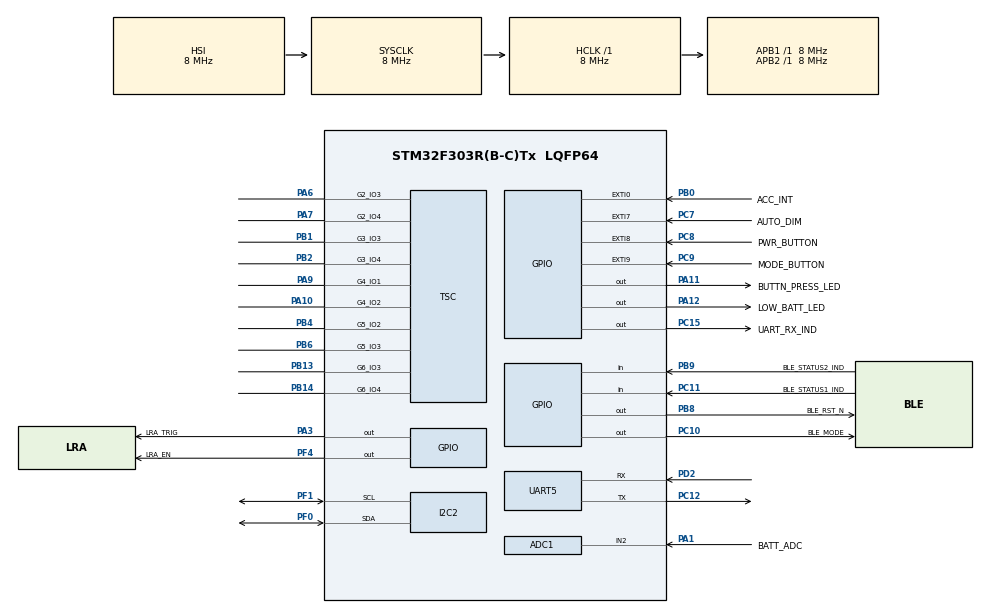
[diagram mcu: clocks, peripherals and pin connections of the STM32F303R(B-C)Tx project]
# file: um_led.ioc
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ADC1.Channel-0\#ChannelRegularConversion=ADC_CHANNEL_2
ADC1.NbrOfConversion=1
ADC1.NbrOfConversionFlag=1
ADC1.Offset-0\#ChannelRegularConversion=0
ADC1.OffsetNumber-0\#ChannelRegularConversion=ADC_OFFSET_NONE
ADC1.Rank-0\#ChannelRegularConversion=1
ADC1.SamplingTime-0\#ChannelRegularConversion=ADC_SAMPLETIME_601CYCLES_5
ADC1.master=1
Mcu.Family=STM32F3
Mcu.Name=STM32F303R(B-C)Tx
Mcu.Package=LQFP64
NVIC.EXTI0_IRQn=true\:1\:0\:true\:false\:true\:true\:true\:true
NVIC.EXTI9_5_IRQn=true\:1\:0\:true\:false\:true\:true\:true\:true
NVIC.PriorityGroup=NVIC_PRIORITYGROUP_4
NVIC.UART5_IRQn=true\:0\:0\:false\:false\:true\:true\:true\:true
PA1.GPIO_Label=BATT_ADC
PA1.GPIO_Mode=GPIO_MODE_ANALOG
PA1.GPIO_PuPd=GPIO_NOPULL
PA1.Mode=IN2-Single-Ended
PA1.Signal=ADC1_IN2
PA10.Mode=G4_IO2-Channel
PA10.Signal=TSC_G4_IO2
PA11.GPIO_Label=BUTTN_PRESS_LED
PA11.PinState=GPIO_PIN_SET
PA11.Signal=GPIO_Output
PA12.GPIO_Label=LOW_BATT_LED
PA12.PinState=GPIO_PIN_SET
PA12.Signal=GPIO_Output
PA13.Mode=Trace_Asynchronous_SW
PA13.Signal=SYS_JTMS-SWDIO
PA14.Mode=Trace_Asynchronous_SW
PA14.Signal=SYS_JTCK-SWCLK
PA3.GPIO_Label=LRA_TRIG
PA3.Signal=GPIO_Output
PA6.Mode=G2_IO3-Sampling
PA6.Signal=TSC_G2_IO3
PA7.Mode=G2_IO4-Channel
PA7.Signal=TSC_G2_IO4
PA9.Mode=G4_IO1-Sampling
PA9.Signal=TSC_G4_IO1
PB0.GPIO_Label=ACC_INT
PB0.GPIO_ModeDefaultEXTI=GPIO_MODE_IT_RISING
PB0.Signal=GPXTI0
PB1.Mode=G3_IO3-Sampling
PB1.Signal=TSC_G3_IO3
PB13.Mode=G6_IO3-Sampling
PB13.Signal=TSC_G6_IO3
PB14.Mode=G6_IO4-Channel
PB14.Signal=TSC_G6_IO4
PB2.Mode=G3_IO4-Channel
PB2.Signal=TSC_G3_IO4
PB3.Mode=Trace_Asynchronous_SW
PB3.Signal=SYS_JTDO-TRACESWO
PB4.Mode=G5_IO2-Channel
PB4.Signal=TSC_G5_IO2
PB6.Mode=G5_IO3-Sampling
PB6.Signal=TSC_G5_IO3
PB8.GPIO_Label=BLE_RST_N
PB8.GPIO_ModeDefaultOutputPP=GPIO_MODE_OUTPUT_OD
PB8.GPIO_PuPd=GPIO_NOPULL
PB8.PinState=GPIO_PIN_SET
PB8.Signal=GPIO_Output
PB9.GPIO_Label=BLE_STATUS2_IND
PB9.Signal=GPIO_Input
PC10.GPIO_Label=BLE_MODE
PC10.GPIO_ModeDefaultOutputPP=GPIO_MODE_OUTPUT_OD
PC10.GPIO_PuPd=GPIO_NOPULL
PC10.PinState=GPIO_PIN_SET
PC10.Signal=GPIO_Output
PC11.GPIO_Label=BLE_STATUS1_IND 
PC11.Signal=GPIO_Input
PC12.Mode=Asynchronous
PC12.Signal=UART5_TX
PC15-OSC32_OUT.GPIO_Label=UART_RX_IND
PC15-OSC32_OUT.Signal=GPIO_Output
PC7.GPIO_Label=AUTO_DIM
PC7.GPIO_ModeDefaultEXTI=GPIO_MODE_IT_FALLING
PC7.GPIO_PuPd=GPIO_PULLUP
PC7.Signal=GPXTI7
PC8.GPIO_Label=PWR_BUTTON
PC8.GPIO_ModeDefaultEXTI=GPIO_MODE_IT_FALLING
PC8.GPIO_PuPd=GPIO_PULLUP
PC8.Signal=GPXTI8
PC9.GPIO_Label=MODE_BUTTON
PC9.GPIO_ModeDefaultEXTI=GPIO_MODE_IT_FALLING
PC9.GPIO_PuPd=GPIO_PULLUP
PC9.Signal=GPXTI9
PD2.Mode=Asynchronous
PD2.Signal=UART5_RX
PF0-OSC_IN.GPIO_Mode=GPIO_MODE_AF_OD
PF0-OSC_IN.GPIO_Pu=GPIO_NOPULL
PF0-OSC_IN.Mode=I2C
PF0-OSC_IN.Signal=I2C2_SDA
PF1-OSC_OUT.Mode=I2C
PF1-OSC_OUT.Signal=I2C2_SCL
PF4.GPIO_Label=LRA_EN
PF4.PinState=GPIO_PIN_SET
PF4.Signal=GPIO_Output
ProjectManager.HeapSize=0x200
ProjectManager.StackSize=0x400
ProjectManager.TargetToolchain=STM32CubeIDE
RCC.AHBFreq_Value=8000000
RCC.APB1Freq_Value=8000000
RCC.APB1TimFreq_Value=8000000
RCC.APB2Freq_Value=8000000
RCC.APB2TimFreq_Value=8000000
RCC.CortexFreq_Value=8000000
RCC.HCLKFreq_Value=8000000
RCC.HSE_VALUE=8000000
RCC.HSI_VALUE=8000000
RCC.LSE_VALUE=32768
RCC.PLLMUL=RCC_PLL_MUL4
RCC.SYSCLKFreq_VALUE=8000000
RCC.USBFreq_Value=16000000
TOUCHSENSING.IO_5CH_LIN_M1_NBR1_CH1=G5_IO2
TOUCHSENSING.IO_5CH_LIN_M1_NBR1_CH1-TouchSensing_Enabled=G5_IO2
TOUCHSENSING.IO_5CH_LIN_M1_NBR1_CH2=G4_IO2
TOUCHSENSING.IO_5CH_LIN_M1_NBR1_CH3=G6_IO4
TOUCHSENSING.IO_5CH_LIN_M1_NBR1_CH4=G3_IO4
TOUCHSENSING.IO_5CH_LIN_M1_NBR1_CH5=G2_IO4
TOUCHSENSING.TSLPRM_LINROT_RESOLUTION=8
TOUCHSENSING.TSLPRM_SENSORS_DATAS=TSLPRM_USE_5CH_LIN_M1_NBR1 1 5 
TOUCHSENSING.TSLPRM_USE_4CH_LIN_M1=1
TOUCHSENSING.TSLPRM_USE_4CH_LIN_M1_NBR=0
TOUCHSENSING.TSLPRM_USE_5CH_LIN_M1=1
TOUCHSENSING.TSLPRM_USE_5CH_LIN_M1_NBR=1
TSC.CTPulseHighLength=TSC_CTPH_4CYCLES
TSC.CTPulseLowLength=TSC_CTPL_4CYCLES
TSC.ChannelIOs-G2_IO4=TSC_GROUP2_IO4
TSC.ChannelIOs-G3_IO4=TSC_GROUP3_IO4
TSC.ChannelIOs-G4_IO2=TSC_GROUP4_IO2
TSC.ChannelIOs-G5_IO2=TSC_GROUP5_IO2
TSC.ChannelIOs-G6_IO4=TSC_GROUP6_IO4
TSC.MaxCountValue=TSC_MCV_8191
TSC.PulseGeneratorPrescaler=TSC_PG_PRESC_DIV4
TSC.SamplingIOs-G2_IO3=TSC_GROUP2_IO3
TSC.SamplingIOs-G3_IO3=TSC_GROUP3_IO3
TSC.SamplingIOs-G4_IO1=TSC_GROUP4_IO1
TSC.SamplingIOs-G5_IO3=TSC_GROUP5_IO3
TSC.SamplingIOs-G6_IO3=TSC_GROUP6_IO3
VP_TOUCHSENSING_VS_TOUCHSENSING.Mode=TouchSensing_Enabled
board=custom

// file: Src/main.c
/* USER CODE BEGIN Header */
/**
  ******************************************************************************
  * @file           : main.c
  * @brief          : Main program body
  ******************************************************************************
  * @attention
  *
  * Copyright (c) 2025 STMicroelectronics.
  * All rights reserved.
  *
  * This software is licensed under terms that can be found in the LICENSE file
  * in the root directory of this software component.
  * If no LICENSE file comes with this software, it is provided AS-IS.
  *
  ******************************************************************************
  */
/* USER CODE END Header */
#include "main.h"
#include "touchsensing.h"

/* USER CODE BEGIN Includes */
#include <stdio.h>
#include "tsl_user.h"
#include "drv2605l.h"
#include "mc3416.h"
#include <stdbool.h>
#include "math.h"
#include "stdlib.h"
#include "led.h"
#include "slider.h"
#include "bm71.h"
/* USER CODE END Includes */

/* USER CODE BEGIN PTD */
typedef enum {
	NONE,
	MODE,
	AUTODIM,
	POWER
} button_t;
/* USER CODE END PTD */

ADC_HandleTypeDef hadc1;

I2C_HandleTypeDef hi2c2;

TSC_HandleTypeDef htsc;

UART_HandleTypeDef huart5;

/* USER CODE BEGIN PV */
uint32_t currentTime;
uint32_t previousTime = 0;
volatile uint32_t lastActivity = 0;
uint32_t lastPwrPress = 0;
uint32_t lastModePress = 0;
uint32_t lastAutoDimPress = 0;
uint32_t lastMotion = 0;
uint32_t bleResetTime = 0;
uint32_t lastBattCheck = 0;
volatile bool modePressed = false;
volatile bool autoDimPresssed = false;
volatile bool pwrPressed = false;
volatile button_t buttonPressed = NONE;
volatile bool toggleBlueActive;
/* USER CODE END PV */

void SystemClock_Config(void);
static void MX_GPIO_Init(void);
static void MX_TSC_Init(void);
static void MX_ADC1_Init(void);
static void MX_I2C2_Init(void);
static void MX_UART5_Init(void);

int main(void)
{
  /* USER CODE BEGIN 1 */
	printf("here!\n");
  /* USER CODE END 1 */

  /* MCU Configuration--------------------------------------------------------*/

  /* Reset of all peripherals, Initializes the Flash interface and the Systick. */
  HAL_Init();

  /* Configure the system clock */
  SystemClock_Config();

  /* Initialize all configured peripherals */
  MX_GPIO_Init();
  MX_TSC_Init();
  MX_ADC1_Init();
  MX_I2C2_Init();
  MX_TOUCHSENSING_Init();
  MX_UART5_Init();
  /* USER CODE BEGIN 2 */

  // ---------- USER PERIPHERAL INIT BEGIN ------------
  BM71_Init(&huart5);
  DRV2605L_Init(&hi2c2);
  DRV2605L_SequenceWaveform(7, 1);
  MC3416_Init(&hi2c2);
  // ---------- USER PERIPHERAL INIT END ------------

  DRV2605L_SequenceWaveform(7, 1);
  BM71_ReadDeviceName();
  /* USER CODE END 2 */

  /* Infinite loop */
  /* USER CODE BEGIN WHILE */
  while (1)
  {
	  // Anymotion sleep and wake
	  if (HAL_GetTick() - lastActivity >= 10000) {
		  BM71_Sleep();
		  DRV2605L_Disable();
		  TurnOffAllLED();
		  HAL_SuspendTick();
		  HAL_PWR_EnterSTOPMode(PWR_MAINREGULATOR_ON, PWR_STOPENTRY_WFI);
		  SystemClock_Config();
		  HAL_ResumeTick();
		  TurnOnBlueLED();
		  BM71_Wake();
		  DRV2605L_Enable();
		  DRV2605L_TriggerHaptics(); // needs 250us to accept i2c commands.
		  lastActivity = HAL_GetTick();
	  }

	  if (buttonPressed) {
		  ToggleBlueLEDTwice();
	  }

	  // check TSC (touch) readings
	  if (tsl_user_Exec() != TSL_USER_STATUS_BUSY) {
	      ProcessTouch();
	  }

	  if (BM71_GetRxReady()) {
		  BM71_ParseResponse();
	  }

//	  if (bm71_GetStatus() == STANDBY && !bm71_ConnectionPending()) {
//		  bm71_ConnectToDisplay();
//	  }

	  uint32_t currTime = HAL_GetTick();
	  if (currTime - lastBattCheck > 2000) { // abstract away this timing function into the led driver
		  CheckLowBatt(&hadc1);
		  lastBattCheck = currTime;
	  }

	  if (buttonPressed != NONE) {
		  toggleBlueActive = true;
		  switch (buttonPressed) {
			case MODE:
				BM71_CommandDisplay(COMMAND, 0); // maybe make into enums?
				break;
			case AUTODIM:
				BM71_CommandDisplay(COMMAND, 1); //
				break;
			case POWER:
				BM71_CommandDisplay(COMMAND, 2);//
				break;
			default:
				break;
		}
		  buttonPressed = NONE;
	  }

	  if (toggleBlueActive) {
		  ToggleBlueLEDTwice();
	  }

	  HAL_Delay(10); // TSC doesn't seem to work properly without this. fix later.

    /* USER CODE END WHILE */

  }
}

void SystemClock_Config(void)
{
  RCC_OscInitTypeDef RCC_OscInitStruct = {0};
  RCC_ClkInitTypeDef RCC_ClkInitStruct = {0};
  RCC_PeriphCLKInitTypeDef PeriphClkInit = {0};

  /** Initializes the RCC Oscillators according to the specified parameters
  * in the RCC_OscInitTypeDef structure.
  */
  RCC_OscInitStruct.OscillatorType = RCC_OSCILLATORTYPE_HSI;
  RCC_OscInitStruct.HSIState = RCC_HSI_ON;
  RCC_OscInitStruct.HSICalibrationValue = RCC_HSICALIBRATION_DEFAULT;
  RCC_OscInitStruct.PLL.PLLState = RCC_PLL_ON;
  RCC_OscInitStruct.PLL.PLLSource = RCC_PLLSOURCE_HSI;
  RCC_OscInitStruct.PLL.PLLMUL = RCC_PLL_MUL4;
  if (HAL_RCC_OscConfig(&RCC_OscInitStruct) != HAL_OK)
  {
    Error_Handler();
  }

  /** Initializes the CPU, AHB and APB buses clocks
  */
  RCC_ClkInitStruct.ClockType = RCC_CLOCKTYPE_HCLK|RCC_CLOCKTYPE_SYSCLK
                              |RCC_CLOCKTYPE_PCLK1|RCC_CLOCKTYPE_PCLK2;
  RCC_ClkInitStruct.SYSCLKSource = RCC_SYSCLKSOURCE_HSI;
  RCC_ClkInitStruct.AHBCLKDivider = RCC_SYSCLK_DIV1;
  RCC_ClkInitStruct.APB1CLKDivider = RCC_HCLK_DIV1;
  RCC_ClkInitStruct.APB2CLKDivider = RCC_HCLK_DIV1;

  if (HAL_RCC_ClockConfig(&RCC_ClkInitStruct, FLASH_LATENCY_0) != HAL_OK)
  {
    Error_Handler();
  }
  PeriphClkInit.PeriphClockSelection = RCC_PERIPHCLK_UART5|RCC_PERIPHCLK_I2C2
                              |RCC_PERIPHCLK_ADC12;
  PeriphClkInit.Uart5ClockSelection = RCC_UART5CLKSOURCE_PCLK1;
  PeriphClkInit.Adc12ClockSelection = RCC_ADC12PLLCLK_DIV1;
  PeriphClkInit.I2c2ClockSelection = RCC_I2C2CLKSOURCE_HSI;
  if (HAL_RCCEx_PeriphCLKConfig(&PeriphClkInit) != HAL_OK)
  {
    Error_Handler();
  }
}

static void MX_ADC1_Init(void)
{

  ADC_MultiModeTypeDef multimode = {0};
  ADC_ChannelConfTypeDef sConfig = {0};

  /** Common config
  */
  hadc1.Instance = ADC1;
  hadc1.Init.ClockPrescaler = ADC_CLOCK_ASYNC_DIV1;
  hadc1.Init.Resolution = ADC_RESOLUTION_12B;
  hadc1.Init.ScanConvMode = ADC_SCAN_DISABLE;
  hadc1.Init.ContinuousConvMode = DISABLE;
  hadc1.Init.DiscontinuousConvMode = DISABLE;
  hadc1.Init.ExternalTrigConvEdge = ADC_EXTERNALTRIGCONVEDGE_NONE;
  hadc1.Init.ExternalTrigConv = ADC_SOFTWARE_START;
  hadc1.Init.DataAlign = ADC_DATAALIGN_RIGHT;
  hadc1.Init.NbrOfConversion = 1;
  hadc1.Init.DMAContinuousRequests = DISABLE;
  hadc1.Init.EOCSelection = ADC_EOC_SINGLE_CONV;
  hadc1.Init.LowPowerAutoWait = DISABLE;
  hadc1.Init.Overrun = ADC_OVR_DATA_OVERWRITTEN;
  if (HAL_ADC_Init(&hadc1) != HAL_OK)
  {
    Error_Handler();
  }

  /** Configure the ADC multi-mode
  */
  multimode.Mode = ADC_MODE_INDEPENDENT;
  if (HAL_ADCEx_MultiModeConfigChannel(&hadc1, &multimode) != HAL_OK)
  {
    Error_Handler();
  }

  /** Configure Regular Channel
  */
  sConfig.Channel = ADC_CHANNEL_2;
  sConfig.Rank = ADC_REGULAR_RANK_1;
  sConfig.SingleDiff = ADC_SINGLE_ENDED;
  sConfig.SamplingTime = ADC_SAMPLETIME_601CYCLES_5;
  sConfig.OffsetNumber = ADC_OFFSET_NONE;
  sConfig.Offset = 0;
  if (HAL_ADC_ConfigChannel(&hadc1, &sConfig) != HAL_OK)
  {
    Error_Handler();
  }

}

static void MX_I2C2_Init(void)
{

  hi2c2.Instance = I2C2;
  hi2c2.Init.Timing = 0x2000090E;
  hi2c2.Init.OwnAddress1 = 0;
  hi2c2.Init.AddressingMode = I2C_ADDRESSINGMODE_7BIT;
  hi2c2.Init.DualAddressMode = I2C_DUALADDRESS_DISABLE;
  hi2c2.Init.OwnAddress2 = 0;
  hi2c2.Init.OwnAddress2Masks = I2C_OA2_NOMASK;
  hi2c2.Init.GeneralCallMode = I2C_GENERALCALL_DISABLE;
  hi2c2.Init.NoStretchMode = I2C_NOSTRETCH_DISABLE;
  if (HAL_I2C_Init(&hi2c2) != HAL_OK)
  {
    Error_Handler();
  }

  /** Configure Analogue filter
  */
  if (HAL_I2CEx_ConfigAnalogFilter(&hi2c2, I2C_ANALOGFILTER_ENABLE) != HAL_OK)
  {
    Error_Handler();
  }

  /** Configure Digital filter
  */
  if (HAL_I2CEx_ConfigDigitalFilter(&hi2c2, 0) != HAL_OK)
  {
    Error_Handler();
  }

}

static void MX_TSC_Init(void)
{

  /** Configure the TSC peripheral
  */
  htsc.Instance = TSC;
  htsc.Init.CTPulseHighLength = TSC_CTPH_4CYCLES;
  htsc.Init.CTPulseLowLength = TSC_CTPL_4CYCLES;
  htsc.Init.SpreadSpectrum = DISABLE;
  htsc.Init.SpreadSpectrumDeviation = 1;
  htsc.Init.SpreadSpectrumPrescaler = TSC_SS_PRESC_DIV1;
  htsc.Init.PulseGeneratorPrescaler = TSC_PG_PRESC_DIV4;
  htsc.Init.MaxCountValue = TSC_MCV_8191;
  htsc.Init.IODefaultMode = TSC_IODEF_OUT_PP_LOW;
  htsc.Init.SynchroPinPolarity = TSC_SYNC_POLARITY_FALLING;
  htsc.Init.AcquisitionMode = TSC_ACQ_MODE_NORMAL;
  htsc.Init.MaxCountInterrupt = DISABLE;
  htsc.Init.ChannelIOs = TSC_GROUP2_IO4|TSC_GROUP3_IO4|TSC_GROUP4_IO2|TSC_GROUP5_IO2
                    |TSC_GROUP6_IO4;
  htsc.Init.ShieldIOs = 0;
  htsc.Init.SamplingIOs = TSC_GROUP2_IO3|TSC_GROUP3_IO3|TSC_GROUP4_IO1|TSC_GROUP5_IO3
                    |TSC_GROUP6_IO3;
  if (HAL_TSC_Init(&htsc) != HAL_OK)
  {
    Error_Handler();
  }

}

static void MX_UART5_Init(void)
{

  huart5.Instance = UART5;
  huart5.Init.BaudRate = 115200;
  huart5.Init.WordLength = UART_WORDLENGTH_8B;
  huart5.Init.StopBits = UART_STOPBITS_1;
  huart5.Init.Parity = UART_PARITY_NONE;
  huart5.Init.Mode = UART_MODE_TX_RX;
  huart5.Init.HwFlowCtl = UART_HWCONTROL_NONE;
  huart5.Init.OverSampling = UART_OVERSAMPLING_16;
  huart5.Init.OneBitSampling = UART_ONE_BIT_SAMPLE_DISABLE;
  huart5.AdvancedInit.AdvFeatureInit = UART_ADVFEATURE_NO_INIT;
  if (HAL_UART_Init(&huart5) != HAL_OK)
  {
    Error_Handler();
  }

}

static void MX_GPIO_Init(void)
{
  GPIO_InitTypeDef GPIO_InitStruct = {0};

  /* GPIO Ports Clock Enable */
  __HAL_RCC_GPIOC_CLK_ENABLE();
  __HAL_RCC_GPIOF_CLK_ENABLE();
  __HAL_RCC_GPIOA_CLK_ENABLE();
  __HAL_RCC_GPIOB_CLK_ENABLE();
  __HAL_RCC_GPIOD_CLK_ENABLE();

  /*Configure GPIO pin Output Level */
  HAL_GPIO_WritePin(UART_RX_IND_GPIO_Port, UART_RX_IND_Pin, GPIO_PIN_RESET);

  /*Configure GPIO pin Output Level */
  HAL_GPIO_WritePin(LRA_TRIG_GPIO_Port, LRA_TRIG_Pin, GPIO_PIN_RESET);

  /*Configure GPIO pin Output Level */
  HAL_GPIO_WritePin(LRA_EN_GPIO_Port, LRA_EN_Pin, GPIO_PIN_SET);

  /*Configure GPIO pin Output Level */
  HAL_GPIO_WritePin(GPIOA, BUTTN_PRESS_LED_Pin|LOW_BATT_LED_Pin, GPIO_PIN_SET);

  /*Configure GPIO pin Output Level */
  HAL_GPIO_WritePin(BLE_MODE_GPIO_Port, BLE_MODE_Pin, GPIO_PIN_SET);

  /*Configure GPIO pin Output Level */
  HAL_GPIO_WritePin(BLE_RST_N_GPIO_Port, BLE_RST_N_Pin, GPIO_PIN_SET);

  /*Configure GPIO pins : PC13 PC14 PC0 PC1
                           PC2 PC3 PC4 PC5
                           PC6 */
  GPIO_InitStruct.Pin = GPIO_PIN_13|GPIO_PIN_14|GPIO_PIN_0|GPIO_PIN_1
                          |GPIO_PIN_2|GPIO_PIN_3|GPIO_PIN_4|GPIO_PIN_5
                          |GPIO_PIN_6;
  GPIO_InitStruct.Mode = GPIO_MODE_ANALOG;
  GPIO_InitStruct.Pull = GPIO_NOPULL;
  HAL_GPIO_Init(GPIOC, &GPIO_InitStruct);

  /*Configure GPIO pin : UART_RX_IND_Pin */
  GPIO_InitStruct.Pin = UART_RX_IND_Pin;
  GPIO_InitStruct.Mode = GPIO_MODE_OUTPUT_PP;
  GPIO_InitStruct.Pull = GPIO_NOPULL;
  GPIO_InitStruct.Speed = GPIO_SPEED_FREQ_LOW;
  HAL_GPIO_Init(UART_RX_IND_GPIO_Port, &GPIO_InitStruct);

  /*Configure GPIO pins : PA0 PA2 PA4 PA5
                           PA8 PA15 */
  GPIO_InitStruct.Pin = GPIO_PIN_0|GPIO_PIN_2|GPIO_PIN_4|GPIO_PIN_5
                          |GPIO_PIN_8|GPIO_PIN_15;
  GPIO_InitStruct.Mode = GPIO_MODE_ANALOG;
  GPIO_InitStruct.Pull = GPIO_NOPULL;
  HAL_GPIO_Init(GPIOA, &GPIO_InitStruct);

  /*Configure GPIO pins : LRA_TRIG_Pin BUTTN_PRESS_LED_Pin LOW_BATT_LED_Pin */
  GPIO_InitStruct.Pin = LRA_TRIG_Pin|BUTTN_PRESS_LED_Pin|LOW_BATT_LED_Pin;
  GPIO_InitStruct.Mode = GPIO_MODE_OUTPUT_PP;
  GPIO_InitStruct.Pull = GPIO_NOPULL;
  GPIO_InitStruct.Speed = GPIO_SPEED_FREQ_LOW;
  HAL_GPIO_Init(GPIOA, &GPIO_InitStruct);

  /*Configure GPIO pin : LRA_EN_Pin */
  GPIO_InitStruct.Pin = LRA_EN_Pin;
  GPIO_InitStruct.Mode = GPIO_MODE_OUTPUT_PP;
  GPIO_InitStruct.Pull = GPIO_NOPULL;
  GPIO_InitStruct.Speed = GPIO_SPEED_FREQ_LOW;
  HAL_GPIO_Init(LRA_EN_GPIO_Port, &GPIO_InitStruct);

  /*Configure GPIO pin : ACC_INT_Pin */
  GPIO_InitStruct.Pin = ACC_INT_Pin;
  GPIO_InitStruct.Mode = GPIO_MODE_IT_RISING;
  GPIO_InitStruct.Pull = GPIO_NOPULL;
  HAL_GPIO_Init(ACC_INT_GPIO_Port, &GPIO_InitStruct);

  /*Configure GPIO pins : PB10 PB11 PB12 PB15
                           PB5 PB7 */
  GPIO_InitStruct.Pin = GPIO_PIN_10|GPIO_PIN_11|GPIO_PIN_12|GPIO_PIN_15
                          |GPIO_PIN_5|GPIO_PIN_7;
  GPIO_InitStruct.Mode = GPIO_MODE_ANALOG;
  GPIO_InitStruct.Pull = GPIO_NOPULL;
  HAL_GPIO_Init(GPIOB, &GPIO_InitStruct);

  /*Configure GPIO pins : AUTO_DIM_Pin PWR_BUTTON_Pin MODE_BUTTON_Pin */
  GPIO_InitStruct.Pin = AUTO_DIM_Pin|PWR_BUTTON_Pin|MODE_BUTTON_Pin;
  GPIO_InitStruct.Mode = GPIO_MODE_IT_FALLING;
  GPIO_InitStruct.Pull = GPIO_PULLUP;
  HAL_GPIO_Init(GPIOC, &GPIO_InitStruct);

  /*Configure GPIO pin : BLE_MODE_Pin */
  GPIO_InitStruct.Pin = BLE_MODE_Pin;
  GPIO_InitStruct.Mode = GPIO_MODE_OUTPUT_OD;
  GPIO_InitStruct.Pull = GPIO_NOPULL;
  GPIO_InitStruct.Speed = GPIO_SPEED_FREQ_LOW;
  HAL_GPIO_Init(BLE_MODE_GPIO_Port, &GPIO_InitStruct);

  /*Configure GPIO pin : BLE_STATUS1_IND_Pin */
  GPIO_InitStruct.Pin = BLE_STATUS1_IND_Pin;
  GPIO_InitStruct.Mode = GPIO_MODE_INPUT;
  GPIO_InitStruct.Pull = GPIO_NOPULL;
  HAL_GPIO_Init(BLE_STATUS1_IND_GPIO_Port, &GPIO_InitStruct);

  /*Configure GPIO pin : BLE_RST_N_Pin */
  GPIO_InitStruct.Pin = BLE_RST_N_Pin;
  GPIO_InitStruct.Mode = GPIO_MODE_OUTPUT_OD;
  GPIO_InitStruct.Pull = GPIO_NOPULL;
  GPIO_InitStruct.Speed = GPIO_SPEED_FREQ_LOW;
  HAL_GPIO_Init(BLE_RST_N_GPIO_Port, &GPIO_InitStruct);

  /*Configure GPIO pin : BLE_STATUS2_IND_Pin */
  GPIO_InitStruct.Pin = BLE_STATUS2_IND_Pin;
  GPIO_InitStruct.Mode = GPIO_MODE_INPUT;
  GPIO_InitStruct.Pull = GPIO_NOPULL;
  HAL_GPIO_Init(BLE_STATUS2_IND_GPIO_Port, &GPIO_InitStruct);

  /* EXTI interrupt init*/
  HAL_NVIC_SetPriority(EXTI0_IRQn, 1, 0);
  HAL_NVIC_EnableIRQ(EXTI0_IRQn);

  HAL_NVIC_SetPriority(EXTI9_5_IRQn, 1, 0);
  HAL_NVIC_EnableIRQ(EXTI9_5_IRQn);

}

/* USER CODE BEGIN 4 */
int _write(int file, char *ptr, int len)
{
  (void)file;
  int DataIdx;

  for (DataIdx = 0; DataIdx < len; DataIdx++)
  {
    ITM_SendChar(*ptr++);
  }
  return len;
}

void HAL_GPIO_EXTI_Callback(uint16_t GPIO_Pin) {
	switch(GPIO_Pin)
	{
	case PWR_BUTTON_Pin:
		// reset IDLE timer.
		if (HAL_GetTick() - lastPwrPress > 200) {;
			buttonPressed = POWER;
			lastPwrPress = lastActivity = HAL_GetTick();
		}
		// blink BTTN PRESS LED Twice
		// send UART Command to BLE
		break;
	case MODE_BUTTON_Pin:
		if (HAL_GetTick() - lastModePress > 200) {;
			buttonPressed = MODE;
			lastModePress = lastActivity = HAL_GetTick();
		}
		// blink BTTN PRESS LED Twice
		// send UART Command to BLE
		break;
	case AUTO_DIM_Pin:
		if (HAL_GetTick() - lastAutoDimPress > 200) {;
			buttonPressed = AUTODIM;
			lastAutoDimPress = lastActivity = HAL_GetTick();
		}
		// blink BTTN PRESS LED Twice
		// send UART Command to BLE
		break;
	case ACC_INT_Pin:
		printf("acc_int_ INTERRUPT!\n");
		if (HAL_GetTick() - lastMotion > 200) {
			lastMotion = lastActivity = HAL_GetTick();
		}
		// send UART Command to BLE
		break;

	}
}

void HAL_UARTEx_RxEventCallback(UART_HandleTypeDef *huart, uint16_t Size)
{
  if (BM71_GetHandle() == huart) {
	  BM71_SetRxSize(Size);
	  BM71_SetRxReady();
	  HAL_UARTEx_ReceiveToIdle_IT(BM71_GetHandle(), BM71_GetRxBuf(), 256);
  }
}

/* USER CODE END 4 */

void Error_Handler(void)
{
  __disable_irq();
  while (1)
  {
  }
}
